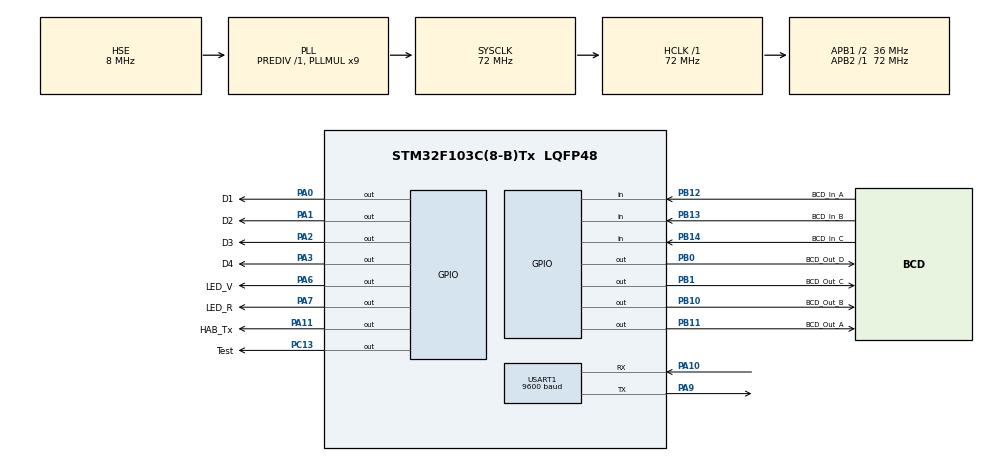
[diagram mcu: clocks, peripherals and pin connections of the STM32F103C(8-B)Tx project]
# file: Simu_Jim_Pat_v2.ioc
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Mcu.Family=STM32F1
Mcu.Name=STM32F103C(8-B)Tx
Mcu.Package=LQFP48
NVIC.PriorityGroup=NVIC_PRIORITYGROUP_4
NVIC.TIM2_IRQn=true\:0\:0\:false\:false\:true\:true\:true
NVIC.USART1_IRQn=true\:0\:0\:false\:false\:true\:true\:true
PA0-WKUP.GPIO_Label=D1
PA0-WKUP.Signal=GPIO_Output
PA1.GPIO_Label=D2
PA1.Signal=GPIO_Output
PA10.Mode=Asynchronous
PA10.Signal=USART1_RX
PA11.GPIO_Label=HAB_Tx
PA11.GPIO_PuPd=GPIO_PULLDOWN
PA11.Signal=GPIO_Output
PA13.Mode=Serial_Wire
PA13.Signal=SYS_JTMS-SWDIO
PA14.Mode=Serial_Wire
PA14.Signal=SYS_JTCK-SWCLK
PA2.GPIO_Label=D3
PA2.Signal=GPIO_Output
PA3.GPIO_Label=D4
PA3.Signal=GPIO_Output
PA6.GPIO_Label=LED_V
PA6.Signal=GPIO_Output
PA7.GPIO_Label=LED_R
PA7.Signal=GPIO_Output
PA9.Mode=Asynchronous
PA9.Signal=USART1_TX
PB0.GPIO_Label=BCD_Out_D
PB0.GPIO_PuPd=GPIO_PULLDOWN
PB0.Signal=GPIO_Output
PB1.GPIO_Label=BCD_Out_C
PB1.GPIO_PuPd=GPIO_PULLDOWN
PB1.Signal=GPIO_Output
PB10.GPIO_Label=BCD_Out_B
PB10.GPIO_PuPd=GPIO_PULLDOWN
PB10.Signal=GPIO_Output
PB11.GPIO_Label=BCD_Out_A
PB11.GPIO_PuPd=GPIO_PULLDOWN
PB11.Signal=GPIO_Output
PB12.GPIO_Label=BCD_In_A
PB12.GPIO_PuPd=GPIO_PULLDOWN
PB12.Signal=GPIO_Input
PB13.GPIO_Label=BCD_In_B
PB13.GPIO_PuPd=GPIO_PULLDOWN
PB13.Signal=GPIO_Input
PB14.GPIO_Label=BCD_In_C
PB14.GPIO_PuPd=GPIO_PULLDOWN
PB14.Signal=GPIO_Input
PC13-TAMPER-RTC.GPIO_Label=Test
PC13-TAMPER-RTC.Signal=GPIO_Output
PD0-OSC_IN.Mode=HSE-External-Oscillator
PD0-OSC_IN.Signal=RCC_OSC_IN
PD1-OSC_OUT.Mode=HSE-External-Oscillator
PD1-OSC_OUT.Signal=RCC_OSC_OUT
ProjectManager.HeapSize=0x200
ProjectManager.StackSize=0x400
ProjectManager.TargetToolchain=STM32CubeIDE
RCC.AHBFreq_Value=72000000
RCC.APB1CLKDivider=RCC_HCLK_DIV2
RCC.APB1Freq_Value=36000000
RCC.APB1TimFreq_Value=72000000
RCC.APB2Freq_Value=72000000
RCC.APB2TimFreq_Value=72000000
RCC.HCLKFreq_Value=72000000
RCC.PLLMUL=RCC_PLL_MUL9
RCC.PLLSourceVirtual=RCC_PLLSOURCE_HSE
RCC.SYSCLKFreq_VALUE=72000000
RCC.SYSCLKSource=RCC_SYSCLKSOURCE_PLLCLK
RCC.USBFreq_Value=72000000
TIM2.Period=7200
TIM2.Prescaler=50
USART1.BaudRate=9600
USART1.VirtualMode=VM_ASYNC
VP_TIM2_VS_ClockSourceINT.Mode=Internal
board=custom

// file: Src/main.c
/* USER CODE BEGIN Header */
/**
  ******************************************************************************
  * Programa para SIMULAR el software de Jim. El equipo cuenta con una placa
  * para controlar el generador, otra para el calculardor de error, y otra para
  * el patrón.
  *
  * Todas las placas cuentan con un interprete que permite procesar las tramas
  * enviadas.
  *
  * Este firmware es particularmente para la placa del PATRON
  *
  * Mensajes propios que puede recibir:
  * MAR: Indica que se pone en marcha y trae los datos de ensayo
  * STP: Indica que se detuvo el ensayo
  * STD: Pide estado de la medición, tiene que devolver kp y los valores medidos
  *
  * Mensajes que puede enviar:
  * ACK
  * ERR
  * Resultados, no llevan indicador de mensaje
  *
  * Lista de errores
  * 0-> Sin errores, se sigue trabajando
  * 1-> Error de comunicaciones interno (con perifericos del CAL)
  * 2-> El mensaje no es correcto o pide valores sin tener un ensayo en ejecución
  *
  *
  *
  ******************************************************************************
  */
/* USER CODE END Header */

#include "main.h"

/* USER CODE BEGIN Includes */
#include "stdlib.h"

/* USER CODE END Includes */

/* USER CODE BEGIN PD */

#define ID1 'P'
#define ID2 'A'
#define ID3 'T'

/* USER CODE END PD */

TIM_HandleTypeDef htim2;

UART_HandleTypeDef huart1;

void SystemClock_Config(void);
static void MX_GPIO_Init(void);
static void MX_TIM2_Init(void);
static void MX_USART1_UART_Init(void);
/* USER CODE BEGIN PFP */

void Limpia_Recep(void);	//Limpia el vecto donde recibe la trama
void Limpia_Pr(void);		//Limpia el vector que usa para procesar la trama
int  Valida_Cksum(void); 	//Devuelve el codigo del error, si ocurrió
int  Lectura_Trama(void);	//Devuelve el codigo del error, si ocurrió

void Genera_Trama_ACK_ERROR (void); //Genera la trama a transmitir que contiene el ACK
void Genera_Trama_RLT (void);  		//Genera la trama a transmitir que contiene los resultados
void Genera_Valores_RLT (void); 	//Genera los valores que se van a usar para los resultados

int Valida_Entradas (void);	//Mira las entradas y escribe en el display

void Envio_tx (void);	//Transmite el vector tx

/* USER CODE END PFP */

/* USER CODE BEGIN 0 */

//Variables para la recepción e interpretación:

uint8_t v_rx[267];	//Vector de recepción. Lo que llega se guarda aca
uint8_t v_tx[227];	//Vector de transmisión. Lo que quiero enviar, lo armo acá
uint8_t v_pr[267];	//Vector de procesamiento. Cuando termina de recibir, se pasa acá para poder seguir recibiendo

//uint8_t i_rx=0;		//Contador de posiciónes de v_rx
uint8_t i_pr=0;		//Contador de posiciónes de v_pr

uint16_t l_rx=0;	//Longitud de v_rx
uint16_t l_tx=0;	//Longitud de v_tx
uint8_t l_pr=0;		//Longitud de v_pr

uint8_t a_rx[1];	//Variable auxiliar donde se guarda el caracter recibido.
uint8_t f_rx=0;		//Flag de recepción en proceso
uint8_t f_tc=0;		//Flag de trama completa

uint8_t Error_rx=0;	//Guarda el error de la recepción, en 0 -> no hubo error.
uint8_t Error_cksum=0;	//Guarda si hay el error en el cksum.

//Variables generales
uint8_t estado=0;	//Maquina de estados principal

uint16_t l_max=269;	//Es la cantidad maxima de caracteres que puede tener una trama
uint8_t  l_min = 27; 	//Es la cantidad minima de caracteres que puede tener una trama mensaje mas corto

//Variables para la generación de mediciones:
uint8_t v_rlt[80];	//Valores de los resultados aletorios

//Variables determinar Kp y mediciones
uint8_t Val[9][5]; 	//Valores de tensión corriente y angulo en ASCII
uint8_t kp[10]; 	//Constante del patrón
uint8_t rlt_U[15];  //Valores medidos Tension
uint8_t rlt_I[15];  //Valores medidos Corriete
uint8_t rlt_P[15];  	//Valores medidos Angulo
uint8_t f_rlt=0;	//Flag de solicitud de resultados.
uint8_t inst=0;		//Instrucción solicitada
uint8_t f_mar=0;	//Indica ensayo en marcha

//Variables para el envío de respuestas
uint8_t e0=0;	//Caracter del codigo del error
uint8_t e1=0;	//Caracter del codigo del error

/* USER CODE END 0 */

int main(void)
{

  /* MCU Configuration--------------------------------------------------------*/

  /* Reset of all peripherals, Initializes the Flash interface and the Systick. */
  HAL_Init();

  /* Configure the system clock */
  SystemClock_Config();

  /* Initialize all configured peripherals */
  MX_GPIO_Init();
  MX_TIM2_Init();
  MX_USART1_UART_Init();
  /* USER CODE BEGIN 2 */

  //Prearo interrupcion para la recepcion, solo sirve para una vez
  HAL_UART_Receive_IT(&huart1, (uint8_t*)a_rx, sizeof(a_rx));

  HAL_TIM_Base_Start_IT(&htim2);

  //Secuencia de arranque con leds en el frente
  HAL_GPIO_WritePin(LED_V_GPIO_Port, LED_V_Pin, 0);
  HAL_GPIO_WritePin(LED_R_GPIO_Port, LED_R_Pin, 0);

  HAL_Delay(1000);
  HAL_GPIO_WritePin(LED_V_GPIO_Port, LED_V_Pin, 1);
  HAL_Delay(1000);
  HAL_GPIO_WritePin(LED_R_GPIO_Port, LED_R_Pin, 1);
  HAL_Delay(1000);
  HAL_GPIO_WritePin(LED_V_GPIO_Port, LED_V_Pin, 0);
  HAL_GPIO_WritePin(LED_R_GPIO_Port, LED_R_Pin, 0);

  //Apago el led de la palca y en el frente
  HAL_GPIO_WritePin(Test_GPIO_Port, Test_Pin, 1);

  /* USER CODE END 2 */

  /* Infinite loop */
  /* USER CODE BEGIN WHILE */
  while (1)
  {
	  //HAL_UART_Transmit_IT(&huart1, (uint8_t*) &caracter, sizeof(caracter));
	  switch(estado)
	  {
	  case 0:	//espera recepción, valida, y pasa
	  {
		  if(f_tc==1)	//Si se completó una trama
		  {
			  Limpia_Recep();	//Limpio el vector de recepción y reseteo las variables
			  Error_cksum=Valida_Cksum(); //Valido trama analizo checksum

			  //Si el cksum esta ok, valido la trama y sigo, si hay error en cksum ignoro la trama
			  if(Error_cksum==0 && v_pr[8]==ID1 && v_pr[9]==ID2 && v_pr[10]==ID3)
			  {
				  estado=1; //Si es para mi y cksum ok, avanzo
			  }

			  //Si no valida el cksum o no es para mi el mensaje, lo ignoro
			  else
			  {
				  estado=0;
			  }
		  }
	  } //Fin case 0
	  break;

	  case 1: //Envía respuesta al mensaje recibido y ejecuta
	  {
		  //Lee lo que tiene la trama y guarda los valores en las variables correspondientes
		  //Si hay error de contenido lo reporta
		  Error_rx=Lectura_Trama();

		  //Simulo errores solo si o hubo errores
		  if(Error_rx==0) Error_rx=Valida_Entradas();

		  //Si no hay error en la trama
		  if(Error_rx==0)
		  {
			  if (inst==1) //Marcha
			  {
				  //Prendo led testigo de la placa y en el frente
				  HAL_GPIO_WritePin(Test_GPIO_Port, Test_Pin, 0);
				  HAL_GPIO_WritePin(LED_V_GPIO_Port, LED_V_Pin, 1);
				  HAL_GPIO_WritePin(LED_R_GPIO_Port, LED_R_Pin, 0);

				  //Envía marcha al generador con los valores recibidos
				  Genera_Trama_ACK_ERROR();
				  Envio_tx();

				  f_mar=1; //Flag para saber si está funcionando
			  }
			  else if (inst==2)	//Parada
			  {
				  //Apago led testigo
				  HAL_GPIO_WritePin(Test_GPIO_Port, Test_Pin, 1);
				  HAL_GPIO_WritePin(LED_V_GPIO_Port, LED_V_Pin, 0);
				  HAL_GPIO_WritePin(LED_R_GPIO_Port, LED_R_Pin, 0);
				  //Envía marcha al generador con los valores recibidos
				  Genera_Trama_ACK_ERROR();
				  Envio_tx();
				  f_mar=0; //Flag para saber si está funcionando

			  }
			  else if (inst==3)//Pide estado
			  {
				  //Si hacemos que pida valores es ahora
				  if(f_mar==0)
				  {
					  //Apago led testigo de la placa y en el frente
					  HAL_GPIO_WritePin(Test_GPIO_Port, Test_Pin, 1);
					  HAL_GPIO_WritePin(LED_V_GPIO_Port, LED_V_Pin, 0);
					  HAL_GPIO_WritePin(LED_R_GPIO_Port, LED_R_Pin, 1);

					  Error_rx=2;	//Si pide con el equipo apagado manda error 2
					  Genera_Trama_ACK_ERROR();
					  Envio_tx();
				  }
				  else
				  {
					  //Genero los valores medidos y los envío
					  Genera_Valores_RLT();
					  Genera_Trama_RLT();
					  Envio_tx();

				  }

			  }

			  //segun el comando que recibe, transmite ack o resultados.
		  }

		  //Si hay error en la trama
		  else
		  {
			  //Apago led testigo
			  HAL_GPIO_WritePin(Test_GPIO_Port, Test_Pin, 1);
			  HAL_GPIO_WritePin(LED_V_GPIO_Port, LED_V_Pin, 0);
			  HAL_GPIO_WritePin(LED_R_GPIO_Port, LED_R_Pin, 1);

			  //Reporta
			  Genera_Trama_ACK_ERROR();
			  Envio_tx();
		  }

		  //Prepara para volver a recibir
		  Limpia_Recep();
		  Limpia_Pr();
		  estado=0;

	  } //Fin case 1
	  break;

	  }//Fin Switch Principal

	  /* USER CODE END WHILE */

  }
}

void SystemClock_Config(void)
{
  RCC_OscInitTypeDef RCC_OscInitStruct = {0};
  RCC_ClkInitTypeDef RCC_ClkInitStruct = {0};

  /** Initializes the CPU, AHB and APB busses clocks
  */
  RCC_OscInitStruct.OscillatorType = RCC_OSCILLATORTYPE_HSE;
  RCC_OscInitStruct.HSEState = RCC_HSE_ON;
  RCC_OscInitStruct.HSEPredivValue = RCC_HSE_PREDIV_DIV1;
  RCC_OscInitStruct.HSIState = RCC_HSI_ON;
  RCC_OscInitStruct.PLL.PLLState = RCC_PLL_ON;
  RCC_OscInitStruct.PLL.PLLSource = RCC_PLLSOURCE_HSE;
  RCC_OscInitStruct.PLL.PLLMUL = RCC_PLL_MUL9;
  if (HAL_RCC_OscConfig(&RCC_OscInitStruct) != HAL_OK)
  {
    Error_Handler();
  }
  /** Initializes the CPU, AHB and APB busses clocks
  */
  RCC_ClkInitStruct.ClockType = RCC_CLOCKTYPE_HCLK|RCC_CLOCKTYPE_SYSCLK
                              |RCC_CLOCKTYPE_PCLK1|RCC_CLOCKTYPE_PCLK2;
  RCC_ClkInitStruct.SYSCLKSource = RCC_SYSCLKSOURCE_PLLCLK;
  RCC_ClkInitStruct.AHBCLKDivider = RCC_SYSCLK_DIV1;
  RCC_ClkInitStruct.APB1CLKDivider = RCC_HCLK_DIV2;
  RCC_ClkInitStruct.APB2CLKDivider = RCC_HCLK_DIV1;

  if (HAL_RCC_ClockConfig(&RCC_ClkInitStruct, FLASH_LATENCY_2) != HAL_OK)
  {
    Error_Handler();
  }
}

static void MX_TIM2_Init(void)
{

  TIM_ClockConfigTypeDef sClockSourceConfig = {0};
  TIM_MasterConfigTypeDef sMasterConfig = {0};

  htim2.Instance = TIM2;
  htim2.Init.Prescaler = 50;
  htim2.Init.CounterMode = TIM_COUNTERMODE_UP;
  htim2.Init.Period = 7200;
  htim2.Init.ClockDivision = TIM_CLOCKDIVISION_DIV1;
  htim2.Init.AutoReloadPreload = TIM_AUTORELOAD_PRELOAD_DISABLE;
  if (HAL_TIM_Base_Init(&htim2) != HAL_OK)
  {
    Error_Handler();
  }
  sClockSourceConfig.ClockSource = TIM_CLOCKSOURCE_INTERNAL;
  if (HAL_TIM_ConfigClockSource(&htim2, &sClockSourceConfig) != HAL_OK)
  {
    Error_Handler();
  }
  sMasterConfig.MasterOutputTrigger = TIM_TRGO_RESET;
  sMasterConfig.MasterSlaveMode = TIM_MASTERSLAVEMODE_DISABLE;
  if (HAL_TIMEx_MasterConfigSynchronization(&htim2, &sMasterConfig) != HAL_OK)
  {
    Error_Handler();
  }

}

static void MX_USART1_UART_Init(void)
{

  huart1.Instance = USART1;
  huart1.Init.BaudRate = 9600;
  huart1.Init.WordLength = UART_WORDLENGTH_8B;
  huart1.Init.StopBits = UART_STOPBITS_1;
  huart1.Init.Parity = UART_PARITY_NONE;
  huart1.Init.Mode = UART_MODE_TX_RX;
  huart1.Init.HwFlowCtl = UART_HWCONTROL_NONE;
  huart1.Init.OverSampling = UART_OVERSAMPLING_16;
  if (HAL_UART_Init(&huart1) != HAL_OK)
  {
    Error_Handler();
  }

}

static void MX_GPIO_Init(void)
{
  GPIO_InitTypeDef GPIO_InitStruct = {0};

  /* GPIO Ports Clock Enable */
  __HAL_RCC_GPIOC_CLK_ENABLE();
  __HAL_RCC_GPIOD_CLK_ENABLE();
  __HAL_RCC_GPIOA_CLK_ENABLE();
  __HAL_RCC_GPIOB_CLK_ENABLE();

  /*Configure GPIO pin Output Level */
  HAL_GPIO_WritePin(Test_GPIO_Port, Test_Pin, GPIO_PIN_RESET);

  /*Configure GPIO pin Output Level */
  HAL_GPIO_WritePin(GPIOA, D1_Pin|D2_Pin|D3_Pin|D4_Pin
                          |LED_V_Pin|LED_R_Pin|HAB_Tx_Pin, GPIO_PIN_RESET);

  /*Configure GPIO pin Output Level */
  HAL_GPIO_WritePin(GPIOB, BCD_Out_D_Pin|BCD_Out_C_Pin|BCD_Out_B_Pin|BCD_Out_A_Pin, GPIO_PIN_RESET);

  /*Configure GPIO pin : Test_Pin */
  GPIO_InitStruct.Pin = Test_Pin;
  GPIO_InitStruct.Mode = GPIO_MODE_OUTPUT_PP;
  GPIO_InitStruct.Pull = GPIO_NOPULL;
  GPIO_InitStruct.Speed = GPIO_SPEED_FREQ_LOW;
  HAL_GPIO_Init(Test_GPIO_Port, &GPIO_InitStruct);

  /*Configure GPIO pins : D1_Pin D2_Pin D3_Pin D4_Pin
                           LED_V_Pin LED_R_Pin */
  GPIO_InitStruct.Pin = D1_Pin|D2_Pin|D3_Pin|D4_Pin
                          |LED_V_Pin|LED_R_Pin;
  GPIO_InitStruct.Mode = GPIO_MODE_OUTPUT_PP;
  GPIO_InitStruct.Pull = GPIO_NOPULL;
  GPIO_InitStruct.Speed = GPIO_SPEED_FREQ_LOW;
  HAL_GPIO_Init(GPIOA, &GPIO_InitStruct);

  /*Configure GPIO pins : BCD_Out_D_Pin BCD_Out_C_Pin BCD_Out_B_Pin BCD_Out_A_Pin */
  GPIO_InitStruct.Pin = BCD_Out_D_Pin|BCD_Out_C_Pin|BCD_Out_B_Pin|BCD_Out_A_Pin;
  GPIO_InitStruct.Mode = GPIO_MODE_OUTPUT_PP;
  GPIO_InitStruct.Pull = GPIO_PULLDOWN;
  GPIO_InitStruct.Speed = GPIO_SPEED_FREQ_LOW;
  HAL_GPIO_Init(GPIOB, &GPIO_InitStruct);

  /*Configure GPIO pins : BCD_In_A_Pin BCD_In_B_Pin BCD_In_C_Pin */
  GPIO_InitStruct.Pin = BCD_In_A_Pin|BCD_In_B_Pin|BCD_In_C_Pin;
  GPIO_InitStruct.Mode = GPIO_MODE_INPUT;
  GPIO_InitStruct.Pull = GPIO_PULLDOWN;
  HAL_GPIO_Init(GPIOB, &GPIO_InitStruct);

  /*Configure GPIO pin : HAB_Tx_Pin */
  GPIO_InitStruct.Pin = HAB_Tx_Pin;
  GPIO_InitStruct.Mode = GPIO_MODE_OUTPUT_PP;
  GPIO_InitStruct.Pull = GPIO_PULLDOWN;
  GPIO_InitStruct.Speed = GPIO_SPEED_FREQ_LOW;
  HAL_GPIO_Init(HAB_Tx_GPIO_Port, &GPIO_InitStruct);

}

/* USER CODE BEGIN 4 */

void HAL_UART_RxCpltCallback(UART_HandleTypeDef *huart)
{
	static uint8_t i_rx=0;
	if (f_rx==0) //Si no está recibiendo
	{
		if (a_rx[0]=='B') //Pregunta si escomienzo de trama
		{
			i_rx=0;
			v_rx[i_rx]=a_rx[0];
			f_rx=1;	//Preparo para seguir ricibiendo la trama
		}
	}
	else	//Si ya comenzó a recibir la trama (recibió la B)
	{
		i_rx++;
		v_rx[i_rx]=a_rx[0];

		if (a_rx[0]=='Z') //Caracter de fin de trama
		{
			l_rx = i_rx + 3;
		}

		if (i_rx==l_rx)	//Llegó al final de la trama
		{
			f_rx=0;	//Preparo para recibir la proxima trama

			i_rx=0;

			l_pr=l_rx; //Guardo la ultima posición del vector recibido

			l_rx=l_max; //maxima longirud para comparar la proxima pasada
			l_rx--;

			f_tc=1; //Flag de trama completa
		}

		}

	//Prearo interrupcion para la recepcion, solo sirve para una vez
	  	HAL_UART_Receive_IT(&huart1, (uint8_t*)a_rx, sizeof(a_rx));

}	//FIN UART

void HAL_TIM_PeriodElapsedCallback(TIM_HandleTypeDef *htim)
{
	static uint8_t aux=0;
	static uint8_t i=0;

	//Lectura de llaves, guardo en una variable que no me interesa, solo quiero actualizar el display
	aux=Valida_Entradas();
	aux++;

	//time to live de la recepción
	if (f_rx==1)
	{
		//Si tarda mas de un segundo en completar la recepción
		if(i==200)
		{
			f_rx=0;
		}
		i++;
	}
	else
	{
		i=0;
	}

//		HAL_GPIO_TogglePin(Test_GPIO_Port, Test_Pin);
}	//Fin timer 2

void Limpia_Recep(void)	//Limpia lo relacionado a la recepción y prepara una nueva
{
	uint16_t i=0;
	for (i=0;i<=l_max-1;i++)
	{
		v_pr[i]=v_rx[i]; //Lleno de espaciós vacios
	}
//
//
//	//Limpia vector de recepcion
//	for (i=0;i<=l_max-1;i++)
//	{
//		v_rx[i]='0'; //Lleno de espaciós vacios
//	}

//	//Limpia vector de transmision
//	for (i=0;i<=l_max-1;i++)
//	{
//		v_tx[i]=' '; //Lleno de espaciós vacios
//	}

	a_rx[0]=0;
//	i_rx=0;
	l_rx=l_max;
	l_rx--;
	f_rx=0;
	f_tc=0;

} //Fin Limpia Recep

void Limpia_Pr(void)
{
	uint16_t i=0;

	for (i=0;i<=l_max-1;i++)
	{
		v_pr[i]=' '; //Lleno de espaciós vacios
	}

} //Fin limpia Pr

int Valida_Cksum(void)
{
	//Variables locales
	uint8_t Error=0;
	uint8_t cksum=0;
	uint16_t i=0;

	//Validación del checksum

	for(i=0;i<=l_pr-1;i++)
	{
		cksum+=v_pr[i];
	}

	if(cksum=='B' || cksum=='Z' || cksum==10) cksum++;

	if(cksum==v_pr[l_pr])	//Verifico el cksm
	{
		Error=0;
	}
	else Error=1;	//No cumple cksm

	//Para probar
//	Error=0;

	return (Error);

} //Fin Valida_Trama

int Lectura_Trama (void)
{
	//Variables locales
	uint8_t Error=0;
	uint8_t i=0;
	uint8_t i_rd=0;	//Posición de lectura
	uint8_t i_wr=0;	//Posición de escritura (fila)
	uint8_t v_ax[10];	//vector auxiliar de lectura

	//El vector tiene datos a partir de la posición 13 inclusive

	//Lectura de la instrucción:
	for(i_rd=13;i_rd<=20;i_rd++)
	{
		v_ax[i_wr]=v_pr[i_rd];
		i_wr++;
	}

		 if(v_ax[0]=='M' && v_ax[1]=='A' && v_ax[2]=='R') inst=1;	//MAR Ensayo en marcha el equipo
	else if(v_ax[0]=='S' && v_ax[1]=='T' && v_ax[2]=='P') inst=2;	//STP Fin de ensayo
	else if(v_ax[0]=='S' && v_ax[1]=='T' && v_ax[2]=='D') inst=3;	//STD Pide mediciones
	else Error=2; //Mensaje incorrecto

	//Si se pone en marcha, guarda los parametros del ensayo
	if(inst==1)
	{
		//Guarda los valores en el vector, restado 48 para que no esté en ASCII
		i=0;
		for(i_rd=26;i_rd<=106;i_rd+=10)
			{
				Val[i][0]=v_pr[i_rd] - 48;
				Val[i][1]=v_pr[i_rd+1] - 48;
				Val[i][2]=v_pr[i_rd+2] - 48;
				Val[i][3]=v_pr[i_rd+3] - 48;
				Val[i][4]=v_pr[i_rd+4] - 48;
				i++;
			}
	}

	return (Error);
} //Fin Lectura_Trama

void Genera_Trama_ACK_ERROR (void) //Genera la trama a transmitir que contiene el ACK con el codigo del error (cero es sin error)
{
	uint8_t i=0;
	uint8_t cksum=0;

	static uint8_t r1=0;
	static uint8_t r2=0;
	static uint8_t r3=0;
	//Convierto el error a ascii, como maximo dos digitos tiene:
	e0=Error_rx%10;	//Obtengo unidad
	e1=Error_rx/10; //Obtengo decena

	if(Error_rx==0)
	{
		r1='A';
		r2='C';
		r3='K';
	}
	else
	{
		r1='E';
		r2='R';
		r3='R';
	}

	//Armo el vector

	v_tx[0] ='B';
	v_tx[1] ='|';
	v_tx[2] =' ';
	v_tx[3] =ID1;	//Origen
	v_tx[4] =ID2;
	v_tx[5] =ID3;
	v_tx[6] ='|';
	v_tx[7] =' ';
	v_tx[8] ='P';	//Destino
	v_tx[9] ='C';
	v_tx[10]='S';
	v_tx[11]='|';
	v_tx[12]=' ';
	v_tx[13]=r1;
	v_tx[14]=r2;
	v_tx[15]=r3;
	v_tx[16]='0';
	v_tx[17]='0';
	v_tx[18]='0';
	v_tx[19]= e1 + 48;
	v_tx[20]= e0 + 48;
	v_tx[21]='|';
	v_tx[22]=' ';
	v_tx[23]='Z';
	v_tx[24]='|';
	v_tx[25]=' ';

	cksum=0;

	for(i=0;i<=25;i++)
	{
		cksum+=v_tx[i];
	}

	if(cksum=='B' || cksum=='Z' || cksum==10) cksum++;

	v_tx[26]=cksum;

	// \n
	v_tx[27]=10;
	l_tx=28;	//Longitud para transmitir

} //Fin Genera Trama ACK

void Genera_Trama_RLT (void)
{
	uint8_t i=0;
	uint8_t k=0;
	uint8_t cksum=0;

	//En una funcion aparte, genero resultados aleatorios para todos los puestos. Cada cierto tiempo habilito que se cargen al vector de transmisión.

	//Siempre envía 20 resultados. Si el puesto esta vacío, no manda nada. Tiene que generar el signo
	//Los resultados los carga cuando pasa cierto tiempo, asi no se actualzan cada vez que se piden resultados

	//Armo cabecera del vector
	v_tx[0] ='B';
	v_tx[1] ='|';
	v_tx[2] =' ';
	v_tx[3] =ID1;	//Origen
	v_tx[4] =ID2;
	v_tx[5] =ID3;
	v_tx[6] ='|';
	v_tx[7] =' ';
	v_tx[8] ='P';	//Destino
	v_tx[9] ='C';
	v_tx[10]='S';
	v_tx[11]='|';
	v_tx[12]=' ';

	//Genero kp, siempre la misma para probar
	v_tx[13]='1';
	v_tx[14]='2';
	v_tx[15]='3';
	v_tx[16]='4';
	v_tx[17]='5';
	v_tx[18]='6';
	v_tx[19]='7';
	v_tx[20]='8';
	v_tx[21]='9';
	v_tx[22]='1';

	//Armo el resto del vector:

	//Tensión
	k=0;
	for(i=23;i<=43;i+=10)
	{
		v_tx[i]='|';
		v_tx[i+1]=' ';
		v_tx[i+2]='0';
		v_tx[i+3]='0';
		v_tx[i+4]='0';
		v_tx[i+5]=rlt_U[k];
		k++;
		v_tx[i+6]=rlt_U[k];
		k++;
		v_tx[i+7]=rlt_U[k];
		k++;
		v_tx[i+8]=rlt_U[k];
		k++;
		v_tx[i+9]=rlt_U[k];
		k++;
	}

	//Corriente
	k=0;
	for(i=53;i<=73;i+=10)
	{
		v_tx[i]='|';
		v_tx[i+1]=' ';
		v_tx[i+2]='0';
		v_tx[i+3]='0';
		v_tx[i+4]='0';
		v_tx[i+5]=rlt_I[k];
		k++;
		v_tx[i+6]=rlt_I[k];
		k++;
		v_tx[i+7]=rlt_I[k];
		k++;
		v_tx[i+8]=rlt_I[k];
		k++;
		v_tx[i+9]=rlt_I[k];
		k++;
	}

	//Angulo
	k=0;
	for(i=83;i<=103;i+=10)
	{
		v_tx[i]='|';
		v_tx[i+1]=' ';
		v_tx[i+2]='0';
		v_tx[i+3]='0';
		v_tx[i+4]='0';
		v_tx[i+5]=rlt_P[k];
		k++;
		v_tx[i+6]=rlt_P[k];
		k++;
		v_tx[i+7]=rlt_P[k];
		k++;
		v_tx[i+8]=rlt_P[k];
		k++;
		v_tx[i+9]=rlt_P[k];
		k++;
	}

	v_tx[113]='|';
	v_tx[114]=' ';
	v_tx[115]='Z';
	v_tx[116]='|';
	v_tx[117]=' ';

	cksum=0;

	for(i=0;i<=117;i++)
	{
		cksum+=v_tx[i];
	}

	if(cksum=='B' || cksum=='Z' || cksum==10) cksum++;

	v_tx[118]=cksum;

	v_tx[119]=10;

	l_tx=120;

}//Fin Genera_Trama_RLT

void Genera_Valores_RLT (void) 	//Genera los valores que se van a usar para los resultados
{

	//Tomamos los valores guardados, restamos uno y sumamos aleatoriamente hasta 2, los decimales los ponemos aleatorios

	uint8_t i=0;
	uint8_t k=0;
	uint16_t V_med[9]; //Guarda los valores en numeros

	//Paso a decimal los valores que cambian,  les resto 10 (el eltimo digito siempre son decimales, y les sumo un random de 20
	V_med[0]=Val[0][1]*1000+Val[0][2]*100+Val[0][3]*10+Val[0][4] - 10 + rand() % 20;
	V_med[1]=Val[1][1]*1000+Val[1][2]*100+Val[1][3]*10+Val[1][4] - 10 + rand() % 20;
	V_med[2]=Val[2][1]*1000+Val[2][2]*100+Val[2][3]*10+Val[2][4] - 10 + rand() % 20;
	V_med[3]=Val[3][0]*10000+Val[3][1]*1000+Val[3][2]*100+Val[3][3]*10+Val[3][4] - 10 + rand() % 20;
	V_med[4]=Val[4][0]*10000+Val[4][1]*1000+Val[4][2]*100+Val[4][3]*10+Val[4][4] - 10 + rand() % 20;
	V_med[5]=Val[5][0]*10000+Val[5][1]*1000+Val[5][2]*100+Val[5][3]*10+Val[5][4] - 10 + rand() % 20;
	V_med[6]=Val[6][2]*100+Val[6][3]*10+Val[6][4] - 10 + rand() % 20;
	V_med[7]=Val[7][2]*100+Val[7][3]*10+Val[7][4] - 10 + rand() % 20;
	V_med[8]=Val[8][2]*100+Val[8][3]*10+Val[8][4] - 10 + rand() % 20;

	k=0;
	//Separo, paso a ASCII y armo el vector Tensión
	for(i=0;i<=14;i+=5)
	{
		//Solo cambian los dos ultimos digitos
		rlt_U[i]  = '0';
		rlt_U[i+1]= (V_med[k]/1000)+48;
		rlt_U[i+2]= ((V_med[k]%1000)/100)+48;
		rlt_U[i+3]= ((V_med[k]%100)/10)+48;
		rlt_U[i+4]= (V_med[k]%10)+48;
		k++;
	}

	//Separo, paso a ASCII y armo el vector Corriente
	for(i=0;i<=14;i+=5)
	{
		//Solo cambian los dos ultimos digitos
		rlt_I[i]  =  (V_med[k]/10000)+48;
		rlt_I[i+1]= ((V_med[k]%10000)/1000)+48;
		rlt_I[i+2]= ((V_med[k]%1000)/100)+48;
		rlt_I[i+3]= ((V_med[k]%100)/10)+48;
		rlt_I[i+4]= (V_med[k]%10)+48;
		k++;
	}

	//Separo, paso a ASCII y armo el vector Angulo
	for(i=0;i<=14;i+=5)
	{
		//Solo cambian los dos ultimos digitos
		rlt_P[i]  = '0';					//Completa la trama de o caracteres
		rlt_P[i+1]= Val[k][1]+48;			//Signo, quedó guardado en matriz de valores recibidos Val[]
		rlt_P[i+2]= (V_med[k]/100)+48; 		//Primer digito queda igual
		rlt_P[i+3]= ((V_med[k]%100)/10)+48;
		rlt_P[i+4]= (V_med[k]%10)+48;
		k++;
	}

} //Genera_Valores_RLT

int Valida_Entradas (void)
{
	// En esta version no se distinuen errores de fases.
	//Lee la llave en BCD de 3 digitos
	uint8_t BCD[3];
	uint8_t valor=0;

	BCD[0]= HAL_GPIO_ReadPin(BCD_In_A_GPIO_Port, BCD_In_A_Pin);
	BCD[1]= HAL_GPIO_ReadPin(BCD_In_B_GPIO_Port, BCD_In_B_Pin);
	BCD[2]= HAL_GPIO_ReadPin(BCD_In_C_GPIO_Port, BCD_In_C_Pin);

	//Calcula el valor
	valor = BCD[0]*1 + BCD[1]*2 + BCD[2]*4;

return(valor);

} //Fin valida entradas

void Envio_tx (void)
{
	//Habilito la transmisión
	  HAL_GPIO_WritePin(HAB_Tx_GPIO_Port, HAB_Tx_Pin, 1);
	  HAL_Delay(50);

	  //Envio
	  HAL_UART_Transmit_IT(&huart1, (uint8_t*) &v_tx, l_tx);
	  HAL_Delay(250);

	  //Deshabilito la transmision
	  HAL_GPIO_WritePin(HAB_Tx_GPIO_Port, HAB_Tx_Pin, 0);
}	//Fin Envio_tx

/* USER CODE END 4 */

void Error_Handler(void)
{
}

/************************ (C) COPYRIGHT STMicroelectronics *****END OF FILE****/
